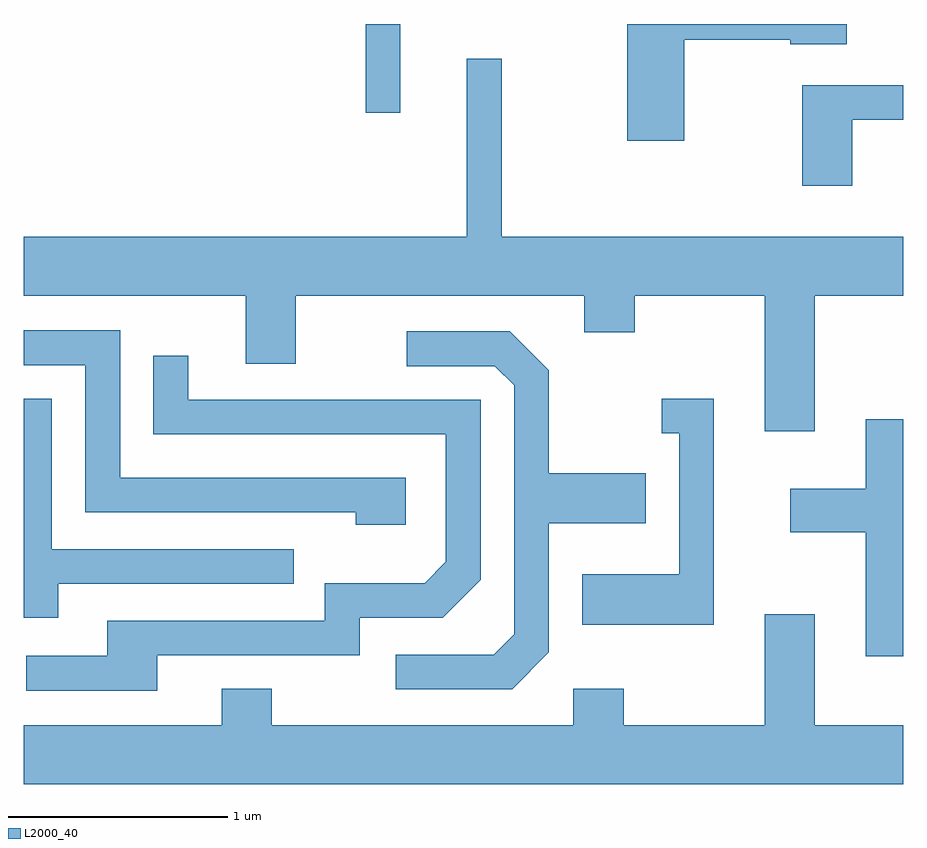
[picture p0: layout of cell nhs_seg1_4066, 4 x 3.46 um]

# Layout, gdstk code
import gdstk
lib = gdstk.Library(unit=1e-6, precision=1e-09)
def R(c, l, rs):  # rectangles x0, y0, x1, y1
    for r in rs: c.add(gdstk.rectangle(r[:2], r[2:], *l))
def P(c, l, *ps):  # polygons
    for p in ps: c.add(gdstk.Polygon(p, *l))
L2000_40 = (2000, 40)

nhs_seg1_4066 = lib.new_cell('nhs_seg1_4066')
R(nhs_seg1_4066, L2000_40, [(309.166,889.308,309.324,889.712)])
P(nhs_seg1_4066, L2000_40, [(310.614,889.641),(311.096,889.641),(311.096,889.621),(311.354,889.621),(311.354,889.712),(310.356,889.712),(310.356,889.181),(310.614,889.181)],
  [(311.209,888.476),(311.611,888.476),(311.611,888.744),(309.784,888.744),(309.784,889.553),(309.626,889.553),(309.626,888.744),(307.611,888.744),(307.611,888.476),(308.621,888.476),(308.621,888.166),(308.849,888.166),(308.849,888.476),(310.161,888.476),(310.161,888.311),(310.389,888.311),(310.389,888.476),(310.981,888.476),(310.981,887.861),(311.209,887.861)],
  [(311.379,889.276),(311.611,889.276),(311.611,889.434),(311.151,889.434),(311.151,888.976),(311.379,888.976)],
  [(309.349,887.649),(308.049,887.649),(308.049,888.319),(307.611,888.319),(307.611,888.161),(307.891,888.161),(307.891,887.491),(309.121,887.491),(309.121,887.436),(309.349,887.436)],
  [(309.999,886.854),(309.999,887.441),(310.439,887.441),(310.439,887.669),(309.999,887.669),(309.999,888.137),(309.822,888.314),(309.353,888.314),(309.353,888.156),(309.754,888.156),(309.841,888.069),(309.841,886.937),(309.749,886.844),(309.303,886.844),(309.303,886.686),(309.832,886.686)],
  [(308.219,886.841),(309.139,886.841),(309.139,887.011),(309.517,887.011),(309.689,887.184),(309.689,888.004),(308.359,888.004),(308.359,888.203),(308.201,888.203),(308.201,887.846),(309.531,887.846),(309.531,887.267),(309.434,887.169),(308.981,887.169),(308.981,886.999),(307.991,886.999),(307.991,886.839),(307.623,886.839),(307.623,886.681),(308.219,886.681)],
  [(307.769,887.166),(308.838,887.166),(308.838,887.324),(307.739,887.324),(307.739,888.009),(307.611,888.009),(307.611,887.011),(307.769,887.011)],
  [(310.749,888.009),(310.513,888.009),(310.513,887.851),(310.591,887.851),(310.591,887.209),(310.151,887.209),(310.151,886.981),(310.749,886.981)],
  [(311.611,887.914),(311.441,887.914),(311.441,887.599),(311.096,887.599),(311.096,887.401),(311.441,887.401),(311.441,886.836),(311.611,886.836)],
  [(311.611,886.524),(311.209,886.524),(311.209,887.029),(310.981,887.029),(310.981,886.524),(310.339,886.524),(310.339,886.689),(310.111,886.689),(310.111,886.524),(308.739,886.524),(308.739,886.689),(308.511,886.689),(308.511,886.524),(307.611,886.524),(307.611,886.256),(311.611,886.256)])

lib.write_gds('nhs_seg1_4066.gds')
